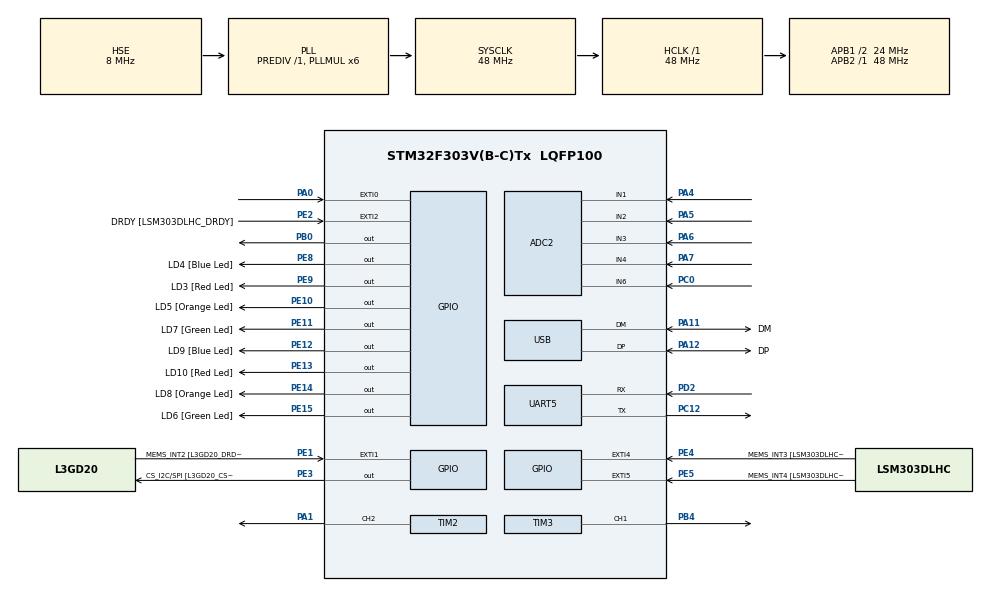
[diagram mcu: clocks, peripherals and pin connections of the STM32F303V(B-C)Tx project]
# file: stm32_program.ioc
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ADC2.AWD1HighThreshold=2000
ADC2.AWD1ITMode=ENABLE
ADC2.Channel-0\#ChannelRegularConversion=ADC_CHANNEL_1
ADC2.Channel-1\#ChannelRegularConversion=ADC_CHANNEL_2
ADC2.Channel-2\#ChannelRegularConversion=ADC_CHANNEL_3
ADC2.Channel-3\#ChannelRegularConversion=ADC_CHANNEL_4
ADC2.Channel-4\#ChannelRegularConversion=ADC_CHANNEL_6
ADC2.ContinuousConvMode=ENABLE
ADC2.DMAContinuousRequests=ENABLE
ADC2.EOCSelection=ADC_EOC_SEQ_CONV
ADC2.EnableAnalogWatchDog1=true
ADC2.NbrOfConversion=5
ADC2.NbrOfConversionFlag=1
ADC2.Offset-0\#ChannelRegularConversion=0
ADC2.Offset-1\#ChannelRegularConversion=0
ADC2.Offset-2\#ChannelRegularConversion=0
ADC2.Offset-3\#ChannelRegularConversion=0
ADC2.Offset-4\#ChannelRegularConversion=0
ADC2.OffsetNumber-0\#ChannelRegularConversion=ADC_OFFSET_NONE
ADC2.OffsetNumber-1\#ChannelRegularConversion=ADC_OFFSET_NONE
ADC2.OffsetNumber-2\#ChannelRegularConversion=ADC_OFFSET_NONE
ADC2.OffsetNumber-3\#ChannelRegularConversion=ADC_OFFSET_NONE
ADC2.OffsetNumber-4\#ChannelRegularConversion=ADC_OFFSET_NONE
ADC2.Rank-0\#ChannelRegularConversion=1
ADC2.Rank-1\#ChannelRegularConversion=2
ADC2.Rank-2\#ChannelRegularConversion=3
ADC2.Rank-3\#ChannelRegularConversion=4
ADC2.Rank-4\#ChannelRegularConversion=5
ADC2.SamplingTime-0\#ChannelRegularConversion=ADC_SAMPLETIME_61CYCLES_5
ADC2.SamplingTime-1\#ChannelRegularConversion=ADC_SAMPLETIME_61CYCLES_5
ADC2.SamplingTime-2\#ChannelRegularConversion=ADC_SAMPLETIME_61CYCLES_5
ADC2.SamplingTime-3\#ChannelRegularConversion=ADC_SAMPLETIME_61CYCLES_5
ADC2.SamplingTime-4\#ChannelRegularConversion=ADC_SAMPLETIME_61CYCLES_5
ADC2.WatchdogMode=ADC_ANALOGWATCHDOG_ALL_REG
Dma.ADC2.0.Direction=DMA_PERIPH_TO_MEMORY
Dma.ADC2.0.Instance=DMA2_Channel1
Dma.ADC2.0.MemDataAlignment=DMA_MDATAALIGN_HALFWORD
Dma.ADC2.0.MemInc=DMA_MINC_ENABLE
Dma.ADC2.0.Mode=DMA_CIRCULAR
Dma.ADC2.0.PeriphDataAlignment=DMA_PDATAALIGN_HALFWORD
Dma.ADC2.0.PeriphInc=DMA_PINC_DISABLE
Dma.ADC2.0.Priority=DMA_PRIORITY_LOW
Dma.Request0=ADC2
Mcu.Family=STM32F3
Mcu.Name=STM32F303V(B-C)Tx
Mcu.Package=LQFP100
NVIC.ADC1_2_IRQn=true\:0\:0\:false\:false\:true\:true\:true\:true
NVIC.DMA2_Channel1_IRQn=true\:0\:0\:false\:false\:true\:false\:true\:true
NVIC.EXTI0_IRQn=true\:0\:0\:false\:false\:true\:true\:true\:true
NVIC.PriorityGroup=NVIC_PRIORITYGROUP_0
NVIC.TIM4_IRQn=true\:0\:0\:false\:false\:true\:true\:true\:true
NVIC.TIM6_DAC_IRQn=true\:0\:0\:false\:false\:true\:true\:true\:true
NVIC.UART5_IRQn=true\:0\:0\:false\:false\:true\:true\:true\:true
PA0.Signal=GPXTI0
PA1.Signal=S_TIM2_CH2
PA11.GPIO_Label=DM
PA11.Mode=Device
PA11.Signal=USB_DM
PA12.GPIO_Label=DP
PA12.Mode=Device
PA12.Signal=USB_DP
PA13.GPIO_Label=SWDIO
PA13.Mode=Serial_Wire
PA13.Signal=SYS_JTMS-SWDIO
PA14.GPIO_Label=SWCLK
PA14.Mode=Serial_Wire
PA14.Signal=SYS_JTCK-SWCLK
PA4.Mode=IN1-Single-Ended
PA4.Signal=ADC2_IN1
PA5.Mode=IN2-Single-Ended
PA5.Signal=ADC2_IN2
PA6.Mode=IN3-Single-Ended
PA6.Signal=ADC2_IN3
PA7.Mode=IN4-Single-Ended
PA7.Signal=ADC2_IN4
PB0.Signal=GPIO_Output
PB3.GPIO_Label=SWO
PB3.Signal=SYS_JTDO-TRACESWO
PB4.Signal=S_TIM3_CH1
PC0.Signal=ADCx_IN6
PC12.Mode=Asynchronous
PC12.Signal=UART5_TX
PC14-OSC32_IN.GPIO_Label=OSC32_IN
PC14-OSC32_IN.Signal=RCC_OSC32_IN
PC15-OSC32_OUT.GPIO_Label=OSC32_OUT
PC15-OSC32_OUT.Signal=RCC_OSC32_OUT
PD2.Mode=Asynchronous
PD2.Signal=UART5_RX
PE1.GPIO_Label=MEMS_INT2 [L3GD20_DRDY/INT2]
PE1.GPIO_ModeDefaultEXTI=GPIO_MODE_EVT_RISING
PE1.Signal=GPXTI1
PE10.GPIO_Label=LD5 [Orange Led]
PE10.Signal=GPIO_Output
PE11.GPIO_Label=LD7 [Green Led]
PE11.Signal=GPIO_Output
PE12.GPIO_Label=LD9 [Blue Led]
PE12.Signal=GPIO_Output
PE13.GPIO_Label=LD10 [Red Led]
PE13.Signal=GPIO_Output
PE14.GPIO_Label=LD8 [Orange Led]
PE14.Signal=GPIO_Output
PE15.GPIO_Label=LD6 [Green Led]
PE15.Signal=GPIO_Output
PE2.GPIO_Label=DRDY [LSM303DLHC_DRDY]
PE2.GPIO_ModeDefaultEXTI=GPIO_MODE_EVT_RISING
PE2.Signal=GPXTI2
PE3.GPIO_Label=CS_I2C/SPI [L3GD20_CS_I2C/SPI]
PE3.Signal=GPIO_Output
PE4.GPIO_Label=MEMS_INT3 [LSM303DLHC_INT1]
PE4.GPIO_ModeDefaultEXTI=GPIO_MODE_EVT_RISING
PE4.Signal=GPXTI4
PE5.GPIO_Label=MEMS_INT4 [LSM303DLHC_INT2]
PE5.GPIO_ModeDefaultEXTI=GPIO_MODE_EVT_RISING
PE5.Signal=GPXTI5
PE8.GPIO_Label=LD4 [Blue Led]
PE8.Signal=GPIO_Output
PE9.GPIO_Label=LD3 [Red Led]
PE9.Signal=GPIO_Output
PF0-OSC_IN.GPIO_Label=OSC_IN
PF0-OSC_IN.Mode=HSE-External-Clock-Source
PF0-OSC_IN.Signal=RCC_OSC_IN
PF1-OSC_OUT.GPIO_Label=OSC_OUT
PF1-OSC_OUT.Signal=RCC_OSC_OUT
ProjectManager.HeapSize=0x200
ProjectManager.StackSize=0x400
ProjectManager.TargetToolchain=STM32CubeIDE
RCC.AHBFreq_Value=48000000
RCC.APB1CLKDivider=RCC_HCLK_DIV2
RCC.APB1Freq_Value=24000000
RCC.APB1TimFreq_Value=48000000
RCC.APB2Freq_Value=48000000
RCC.APB2TimFreq_Value=48000000
RCC.CortexFreq_Value=48000000
RCC.HCLKFreq_Value=48000000
RCC.HSE_VALUE=8000000
RCC.HSI_VALUE=8000000
RCC.LSE_VALUE=32768
RCC.PLLMUL=RCC_PLL_MUL6
RCC.PLLSourceVirtual=RCC_PLLSOURCE_HSE
RCC.SYSCLKFreq_VALUE=48000000
RCC.SYSCLKSourceVirtual=RCC_SYSCLKSOURCE_PLLCLK
RCC.USBFreq_Value=48000000
SH.ADCx_IN6.0=ADC2_IN6,IN6-Single-Ended
SH.S_TIM2_CH2.0=TIM2_CH2,PWM Generation2 CH2
SH.S_TIM3_CH1.0=TIM3_CH1,PWM Generation1 CH1
TIM2.AutoReloadPreload=TIM_AUTORELOAD_PRELOAD_ENABLE
TIM2.Channel-PWM\ Generation2\ CH2=TIM_CHANNEL_2
TIM2.Period=19999
TIM2.Prescaler=47
TIM2.Pulse-PWM\ Generation2\ CH2=1500
TIM3.AutoReloadPreload=TIM_AUTORELOAD_PRELOAD_ENABLE
TIM3.Channel-PWM\ Generation1\ CH1=TIM_CHANNEL_1
TIM3.Period=800
TIM3.Prescaler=47
TIM4.AutoReloadPreload=TIM_AUTORELOAD_PRELOAD_ENABLE
TIM4.Period=99
TIM4.Prescaler=4799
TIM6.AutoReloadPreload=TIM_AUTORELOAD_PRELOAD_DISABLE
TIM6.Prescaler=47999
VP_TIM2_VS_ClockSourceINT.Mode=Internal
VP_TIM3_VS_ClockSourceINT.Mode=Internal
VP_TIM4_VS_ClockSourceINT.Mode=Internal
VP_TIM6_VS_ClockSourceINT.Mode=Enable_Timer
board=STM32F3DISCOVERY

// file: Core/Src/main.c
/* USER CODE BEGIN Header */
/**
  ******************************************************************************
  * @file           : main.c
  * @brief          : Main program body
  ******************************************************************************
  * @attention
  *
  * Copyright (c) 2026 STMicroelectronics.
  * All rights reserved.
  *
  * This software is licensed under terms that can be found in the LICENSE file
  * in the root directory of this software component.
  * If no LICENSE file comes with this software, it is provided AS-IS.
  *
  ******************************************************************************
  */
/* USER CODE END Header */
#include "main.h"

/* USER CODE BEGIN Includes */
#include <string.h>
#include <stdio.h>
/* USER CODE END Includes */

/* USER CODE BEGIN PD */
#define SOGLIA_PERICOLO 1500
#define SOGLIA_FINE_INCENDIO 1000
#define TEMPO_DURATA_SPRUZZO 2000
/* USER CODE END PD */

ADC_HandleTypeDef hadc2;
DMA_HandleTypeDef hdma_adc2;

TIM_HandleTypeDef htim2;
TIM_HandleTypeDef htim3;
TIM_HandleTypeDef htim4;
TIM_HandleTypeDef htim6;

UART_HandleTypeDef huart5;

PCD_HandleTypeDef hpcd_USB_FS;

/* USER CODE BEGIN PV */
typedef enum {
    STATO_PATTUGLIAMENTO,
    STATO_ALLARME,
    STATO_PUNTAMENTO,
    STATO_EROGAZIONE
} SAFE_State;

volatile SAFE_State stato_attuale = STATO_PATTUGLIAMENTO;

const uint8_t angoli_sensori[5] = {30, 60, 90, 120, 150};
volatile uint16_t valori_sensori[5];
volatile uint8_t angolo_corrente = 90;
volatile uint8_t fase_erogazione = 0;

volatile uint8_t allarme_in_sospeso = 0;

/* USER CODE END PV */

void SystemClock_Config(void);
static void MX_GPIO_Init(void);
static void MX_DMA_Init(void);
static void MX_USB_PCD_Init(void);
static void MX_UART5_Init(void);
static void MX_TIM3_Init(void);
static void MX_TIM4_Init(void);
static void MX_ADC2_Init(void);
static void MX_TIM6_Init(void);
static void MX_TIM2_Init(void);
/* USER CODE BEGIN PFP */
uint32_t fase_puntamento_servomotore(void);
void variazione_tono_buzzer(void);
void invia_esp(char* tipo, char* messaggio);
/* USER CODE END PFP */

/* USER CODE BEGIN 0 */

void HAL_GPIO_EXTI_Callback(uint16_t GPIO_PIN) {
	if (GPIO_PIN == GPIO_PIN_0) {
		HAL_GPIO_TogglePin(GPIOB, GPIO_PIN_0);
	}
}

// ISR eseguita quando un sensore supera la soglia di fiamma

void HAL_ADC_LevelOutOfWindowCallback(ADC_HandleTypeDef* hadc)
{
    if (hadc->Instance == ADC2) {
        if (stato_attuale == STATO_PATTUGLIAMENTO) {
            // Spegne temporaneamente il watchdog e prenota l'esecuzione
            ADC2->CFGR &= ~ADC_CFGR_AWD1EN;
            allarme_in_sospeso = 1;
        }
    }
}

// ISR eseguita quando il DMA scansiona tutti e 5 i sensori

void HAL_ADC_ConvCpltCallback(ADC_HandleTypeDef* hadc)
{
    // Esegue il calcolo solo a vettore completo e allarme prenotato
    if (hadc->Instance == ADC2 && allarme_in_sospeso) {

        allarme_in_sospeso = 0;
        stato_attuale = STATO_ALLARME;
        invia_esp("STATO", "ALLARME");
        invia_esp("LOG", "Fiamma rilevata - avvio sequenza");

        HAL_TIM_Base_Start_IT(&htim4);
        HAL_TIM_PWM_Start(&htim3, TIM_CHANNEL_1);

        uint32_t tempo_volo_ms = fase_puntamento_servomotore();

        __HAL_TIM_SET_AUTORELOAD(&htim6, tempo_volo_ms - 1);
        __HAL_TIM_SET_COUNTER(&htim6, 0);
        fase_erogazione = 0;
        HAL_TIM_Base_Start_IT(&htim6);
    }
}

void HAL_TIM_PeriodElapsedCallback(TIM_HandleTypeDef *htim)
{
	// ISR per gestire la variazione di tonalità del buzzer
    if (htim->Instance == TIM4) {
    	variazione_tono_buzzer();
    }

    // ISR per gestire l'accensione della pompa quando il servomotore è in posizione
    if (htim->Instance == TIM6) {

		if (fase_erogazione == 0) {
			stato_attuale = STATO_EROGAZIONE;
			// CASO 1: Prima volta che rileva la fiamma
			invia_esp("STATO", "EROGAZIONE");
			invia_esp("LOG", "Pompa attivata");

			// Accende la pompa dell'acqua
			HAL_GPIO_WritePin(GPIOB, GPIO_PIN_0, GPIO_PIN_SET);

			// Riprogramma se stesso per effettuare 2 secondi (2000 ms) di spruzzo
			__HAL_TIM_SET_AUTORELOAD(&htim6, TEMPO_DURATA_SPRUZZO - 1);
			__HAL_TIM_SET_COUNTER(&htim6, 0);

			// passaggio al caso 2 al successivo scadere del timer
			fase_erogazione = 1;
		}
		else {
			// CASO 2: La pompa ha erogato per 2 secondi

			// Spegne la pompa istantaneamente
			HAL_GPIO_WritePin(GPIOB, GPIO_PIN_0, GPIO_PIN_RESET);

			// Verifica se sono ancora sensori che rilevano fuoco sopra la soglia
			uint8_t fuoco_presente = 0;
			for (int i = 0; i < 5; i++) {
				if (valori_sensori[i] > SOGLIA_FINE_INCENDIO) {
					fuoco_presente = 1;
					break;
				}
			}

			if (fuoco_presente) {

				invia_esp("LOG", "Fuoco ancora presente - ricalcolo mira");
				uint32_t tempo_volo_ms = fase_puntamento_servomotore();

				__HAL_TIM_SET_AUTORELOAD(&htim6, tempo_volo_ms - 1);
				__HAL_TIM_SET_COUNTER(&htim6, 0);
				fase_erogazione = 0;
			}
			else {
				// INCENDIO ESTINTO: Ripristina la torretta a riposo

				HAL_TIM_Base_Stop_IT(&htim6);             // Ferma lo schedulatore
				HAL_TIM_Base_Stop_IT(&htim4);             // Ferma il timer della sirena
				HAL_TIM_PWM_Stop(&htim3, TIM_CHANNEL_1);  // Spegni fisicamente la sirena

				// Riporta il servo dritto a 90 gradi (valore PWM 1500)
				__HAL_TIM_SET_COMPARE(&htim2, TIM_CHANNEL_2, 1500);
				angolo_corrente = 90;

				// Resetta le variabili di stato per il prossimo incendio
				stato_attuale = STATO_PATTUGLIAMENTO;
				invia_esp("STATO", "PATTUGLIAMENTO");
				invia_esp("LOG", "Incendio estinto - sistema ripristinato");
				fase_erogazione = 0;

				// Riabilita il Watchdog
				ADC2->CFGR |= ADC_CFGR_AWD1EN;
			}
		}
	}
}

void variazione_tono_buzzer(void)
{
	static uint16_t current_arr = 800;
	static int8_t direction = 1;

	current_arr += (direction * 20);

	if (current_arr >= 1600) {
		direction = -1;
	} else if (current_arr <= 800) {
		direction = 1;
	}

	__HAL_TIM_SET_AUTORELOAD(&htim3, current_arr);
	__HAL_TIM_SET_COMPARE(&htim3, TIM_CHANNEL_1, current_arr / 2);
}

uint32_t fase_puntamento_servomotore(void)
{
    stato_attuale = STATO_PUNTAMENTO;

    uint16_t max_val = 0;
    uint8_t max_idx = 0;

    // Ricerca del Picco
    for (int i = 0; i < 5; i++) {
        if (valori_sensori[i] > max_val) {
            max_val = valori_sensori[i];
            max_idx = i;
        }
    }

    uint32_t numeratore = 0;
    uint32_t denominatore = 0;

    // Calcolo Media Pesata Locale (per gestire più sorgenti)
//
//    numeratore += valori_sensori[max_idx] * angoli_sensori[max_idx];
//    denominatore += valori_sensori[max_idx];
//
//    // Aggiunge il vicino di sinistra e di destra (se esistono)
//    if (max_idx > 0) {
//        numeratore += valori_sensori[max_idx - 1] * angoli_sensori[max_idx - 1];
//        denominatore += valori_sensori[max_idx - 1];
//    }
//    if (max_idx < 4) {
//        numeratore += valori_sensori[max_idx + 1] * angoli_sensori[max_idx + 1];
//        denominatore += valori_sensori[max_idx + 1];
//    }

    // Calcolo Media Pesata Globale su tutti e 5 i sensori
	for (int i = 0; i < 5; i++) {
		numeratore += valori_sensori[i] * angoli_sensori[i];
		denominatore += valori_sensori[i];
	}

	// Sicurezza contro divisione per zero (improbabile con l'AWD attivo, ma necessaria)
	if (denominatore == 0) {
		return 90; // Torna al centro come posizione di riposo
	}

    // Calcolo finale dell'angolo
    uint8_t angolo_calcolato = numeratore / denominatore;
    char msg[64];
    snprintf(msg, sizeof(msg), "Puntamento a %d gradi", angolo_calcolato);
    invia_esp("STATO", "PUNTAMENTO");
    invia_esp("LOG", msg);

    // Calcolo del tempo necessario a ruotare il servomotore
	int16_t delta_gradi = (int16_t)angolo_calcolato - (int16_t)angolo_corrente;
	if (delta_gradi < 0) delta_gradi = -delta_gradi;
	uint32_t tempo_volo_ms = (delta_gradi * 2) + 30;

    // Attuazione del Servomotore
    uint32_t impulso_pwm = 500 + ((uint32_t)angolo_calcolato * 2000) / 180;
    __HAL_TIM_SET_COMPARE(&htim2, TIM_CHANNEL_2, impulso_pwm);

	// Aggiornamento angolo corrente
	angolo_corrente = angolo_calcolato;

    return tempo_volo_ms;

}

void invia_esp(char* tipo, char* messaggio)
{
    char buffer[128];
    snprintf(buffer, sizeof(buffer), "%s:%s\n", tipo, messaggio);
    HAL_UART_Transmit(&huart5, (uint8_t*)buffer, strlen(buffer), 100);
}

/* USER CODE END 0 */

int main(void)
{

  /* MCU Configuration--------------------------------------------------------*/

  /* Reset of all peripherals, Initializes the Flash interface and the Systick. */
  HAL_Init();

  /* Configure the system clock */
  SystemClock_Config();

  /* Initialize all configured peripherals */
  MX_GPIO_Init();
  MX_DMA_Init();
  MX_USB_PCD_Init();
  MX_UART5_Init();
  MX_TIM3_Init();
  MX_TIM4_Init();
  MX_ADC2_Init();
  MX_TIM6_Init();
  MX_TIM2_Init();
  /* USER CODE BEGIN 2 */
  HAL_TIM_PWM_Start(&htim2, TIM_CHANNEL_2);
  HAL_ADCEx_Calibration_Start(&hadc2, ADC_SINGLE_ENDED);
  HAL_ADC_Start_DMA(&hadc2, (uint32_t*)valori_sensori, 5);
  /* USER CODE END 2 */

  /* Infinite loop */
  while (1)
  {

  }
}

void SystemClock_Config(void)
{
  RCC_OscInitTypeDef RCC_OscInitStruct = {0};
  RCC_ClkInitTypeDef RCC_ClkInitStruct = {0};
  RCC_PeriphCLKInitTypeDef PeriphClkInit = {0};

  /** Initializes the RCC Oscillators according to the specified parameters
  * in the RCC_OscInitTypeDef structure.
  */
  RCC_OscInitStruct.OscillatorType = RCC_OSCILLATORTYPE_HSE;
  RCC_OscInitStruct.HSEState = RCC_HSE_BYPASS;
  RCC_OscInitStruct.HSEPredivValue = RCC_HSE_PREDIV_DIV1;
  RCC_OscInitStruct.HSIState = RCC_HSI_ON;
  RCC_OscInitStruct.PLL.PLLState = RCC_PLL_ON;
  RCC_OscInitStruct.PLL.PLLSource = RCC_PLLSOURCE_HSE;
  RCC_OscInitStruct.PLL.PLLMUL = RCC_PLL_MUL6;
  if (HAL_RCC_OscConfig(&RCC_OscInitStruct) != HAL_OK)
  {
    Error_Handler();
  }

  /** Initializes the CPU, AHB and APB buses clocks
  */
  RCC_ClkInitStruct.ClockType = RCC_CLOCKTYPE_HCLK|RCC_CLOCKTYPE_SYSCLK
                              |RCC_CLOCKTYPE_PCLK1|RCC_CLOCKTYPE_PCLK2;
  RCC_ClkInitStruct.SYSCLKSource = RCC_SYSCLKSOURCE_PLLCLK;
  RCC_ClkInitStruct.AHBCLKDivider = RCC_SYSCLK_DIV1;
  RCC_ClkInitStruct.APB1CLKDivider = RCC_HCLK_DIV2;
  RCC_ClkInitStruct.APB2CLKDivider = RCC_HCLK_DIV1;

  if (HAL_RCC_ClockConfig(&RCC_ClkInitStruct, FLASH_LATENCY_1) != HAL_OK)
  {
    Error_Handler();
  }
  PeriphClkInit.PeriphClockSelection = RCC_PERIPHCLK_USB|RCC_PERIPHCLK_UART5
                              |RCC_PERIPHCLK_ADC12;
  PeriphClkInit.Uart5ClockSelection = RCC_UART5CLKSOURCE_PCLK1;
  PeriphClkInit.Adc12ClockSelection = RCC_ADC12PLLCLK_DIV1;
  PeriphClkInit.USBClockSelection = RCC_USBCLKSOURCE_PLL;
  if (HAL_RCCEx_PeriphCLKConfig(&PeriphClkInit) != HAL_OK)
  {
    Error_Handler();
  }
}

static void MX_ADC2_Init(void)
{

  ADC_AnalogWDGConfTypeDef AnalogWDGConfig = {0};
  ADC_ChannelConfTypeDef sConfig = {0};

  /** Common config
  */
  hadc2.Instance = ADC2;
  hadc2.Init.ClockPrescaler = ADC_CLOCK_ASYNC_DIV1;
  hadc2.Init.Resolution = ADC_RESOLUTION_12B;
  hadc2.Init.ScanConvMode = ADC_SCAN_ENABLE;
  hadc2.Init.ContinuousConvMode = ENABLE;
  hadc2.Init.DiscontinuousConvMode = DISABLE;
  hadc2.Init.ExternalTrigConvEdge = ADC_EXTERNALTRIGCONVEDGE_NONE;
  hadc2.Init.ExternalTrigConv = ADC_SOFTWARE_START;
  hadc2.Init.DataAlign = ADC_DATAALIGN_RIGHT;
  hadc2.Init.NbrOfConversion = 5;
  hadc2.Init.DMAContinuousRequests = ENABLE;
  hadc2.Init.EOCSelection = ADC_EOC_SEQ_CONV;
  hadc2.Init.LowPowerAutoWait = DISABLE;
  hadc2.Init.Overrun = ADC_OVR_DATA_OVERWRITTEN;
  if (HAL_ADC_Init(&hadc2) != HAL_OK)
  {
    Error_Handler();
  }

  /** Configure Analog WatchDog 1
  */
  AnalogWDGConfig.WatchdogNumber = ADC_ANALOGWATCHDOG_1;
  AnalogWDGConfig.WatchdogMode = ADC_ANALOGWATCHDOG_ALL_REG;
  AnalogWDGConfig.HighThreshold = 2000;
  AnalogWDGConfig.LowThreshold = 0;
  AnalogWDGConfig.ITMode = ENABLE;
  if (HAL_ADC_AnalogWDGConfig(&hadc2, &AnalogWDGConfig) != HAL_OK)
  {
    Error_Handler();
  }

  /** Configure Regular Channel
  */
  sConfig.Channel = ADC_CHANNEL_1;
  sConfig.Rank = ADC_REGULAR_RANK_1;
  sConfig.SingleDiff = ADC_SINGLE_ENDED;
  sConfig.SamplingTime = ADC_SAMPLETIME_61CYCLES_5;
  sConfig.OffsetNumber = ADC_OFFSET_NONE;
  sConfig.Offset = 0;
  if (HAL_ADC_ConfigChannel(&hadc2, &sConfig) != HAL_OK)
  {
    Error_Handler();
  }

  /** Configure Regular Channel
  */
  sConfig.Channel = ADC_CHANNEL_2;
  sConfig.Rank = ADC_REGULAR_RANK_2;
  if (HAL_ADC_ConfigChannel(&hadc2, &sConfig) != HAL_OK)
  {
    Error_Handler();
  }

  /** Configure Regular Channel
  */
  sConfig.Channel = ADC_CHANNEL_3;
  sConfig.Rank = ADC_REGULAR_RANK_3;
  if (HAL_ADC_ConfigChannel(&hadc2, &sConfig) != HAL_OK)
  {
    Error_Handler();
  }

  /** Configure Regular Channel
  */
  sConfig.Channel = ADC_CHANNEL_4;
  sConfig.Rank = ADC_REGULAR_RANK_4;
  if (HAL_ADC_ConfigChannel(&hadc2, &sConfig) != HAL_OK)
  {
    Error_Handler();
  }

  /** Configure Regular Channel
  */
  sConfig.Channel = ADC_CHANNEL_6;
  sConfig.Rank = ADC_REGULAR_RANK_5;
  if (HAL_ADC_ConfigChannel(&hadc2, &sConfig) != HAL_OK)
  {
    Error_Handler();
  }

}

static void MX_TIM2_Init(void)
{

  TIM_ClockConfigTypeDef sClockSourceConfig = {0};
  TIM_MasterConfigTypeDef sMasterConfig = {0};
  TIM_OC_InitTypeDef sConfigOC = {0};

  htim2.Instance = TIM2;
  htim2.Init.Prescaler = 47;
  htim2.Init.CounterMode = TIM_COUNTERMODE_UP;
  htim2.Init.Period = 19999;
  htim2.Init.ClockDivision = TIM_CLOCKDIVISION_DIV1;
  htim2.Init.AutoReloadPreload = TIM_AUTORELOAD_PRELOAD_ENABLE;
  if (HAL_TIM_Base_Init(&htim2) != HAL_OK)
  {
    Error_Handler();
  }
  sClockSourceConfig.ClockSource = TIM_CLOCKSOURCE_INTERNAL;
  if (HAL_TIM_ConfigClockSource(&htim2, &sClockSourceConfig) != HAL_OK)
  {
    Error_Handler();
  }
  if (HAL_TIM_PWM_Init(&htim2) != HAL_OK)
  {
    Error_Handler();
  }
  sMasterConfig.MasterOutputTrigger = TIM_TRGO_RESET;
  sMasterConfig.MasterSlaveMode = TIM_MASTERSLAVEMODE_DISABLE;
  if (HAL_TIMEx_MasterConfigSynchronization(&htim2, &sMasterConfig) != HAL_OK)
  {
    Error_Handler();
  }
  sConfigOC.OCMode = TIM_OCMODE_PWM1;
  sConfigOC.Pulse = 1500;
  sConfigOC.OCPolarity = TIM_OCPOLARITY_HIGH;
  sConfigOC.OCFastMode = TIM_OCFAST_DISABLE;
  if (HAL_TIM_PWM_ConfigChannel(&htim2, &sConfigOC, TIM_CHANNEL_2) != HAL_OK)
  {
    Error_Handler();
  }
  HAL_TIM_MspPostInit(&htim2);

}

static void MX_TIM3_Init(void)
{

  TIM_ClockConfigTypeDef sClockSourceConfig = {0};
  TIM_MasterConfigTypeDef sMasterConfig = {0};
  TIM_OC_InitTypeDef sConfigOC = {0};

  htim3.Instance = TIM3;
  htim3.Init.Prescaler = 47;
  htim3.Init.CounterMode = TIM_COUNTERMODE_UP;
  htim3.Init.Period = 800;
  htim3.Init.ClockDivision = TIM_CLOCKDIVISION_DIV1;
  htim3.Init.AutoReloadPreload = TIM_AUTORELOAD_PRELOAD_ENABLE;
  if (HAL_TIM_Base_Init(&htim3) != HAL_OK)
  {
    Error_Handler();
  }
  sClockSourceConfig.ClockSource = TIM_CLOCKSOURCE_INTERNAL;
  if (HAL_TIM_ConfigClockSource(&htim3, &sClockSourceConfig) != HAL_OK)
  {
    Error_Handler();
  }
  if (HAL_TIM_PWM_Init(&htim3) != HAL_OK)
  {
    Error_Handler();
  }
  sMasterConfig.MasterOutputTrigger = TIM_TRGO_RESET;
  sMasterConfig.MasterSlaveMode = TIM_MASTERSLAVEMODE_DISABLE;
  if (HAL_TIMEx_MasterConfigSynchronization(&htim3, &sMasterConfig) != HAL_OK)
  {
    Error_Handler();
  }
  sConfigOC.OCMode = TIM_OCMODE_PWM1;
  sConfigOC.Pulse = 0;
  sConfigOC.OCPolarity = TIM_OCPOLARITY_HIGH;
  sConfigOC.OCFastMode = TIM_OCFAST_DISABLE;
  if (HAL_TIM_PWM_ConfigChannel(&htim3, &sConfigOC, TIM_CHANNEL_1) != HAL_OK)
  {
    Error_Handler();
  }
  HAL_TIM_MspPostInit(&htim3);

}

static void MX_TIM4_Init(void)
{

  TIM_ClockConfigTypeDef sClockSourceConfig = {0};
  TIM_MasterConfigTypeDef sMasterConfig = {0};

  htim4.Instance = TIM4;
  htim4.Init.Prescaler = 4799;
  htim4.Init.CounterMode = TIM_COUNTERMODE_UP;
  htim4.Init.Period = 99;
  htim4.Init.ClockDivision = TIM_CLOCKDIVISION_DIV1;
  htim4.Init.AutoReloadPreload = TIM_AUTORELOAD_PRELOAD_ENABLE;
  if (HAL_TIM_Base_Init(&htim4) != HAL_OK)
  {
    Error_Handler();
  }
  sClockSourceConfig.ClockSource = TIM_CLOCKSOURCE_INTERNAL;
  if (HAL_TIM_ConfigClockSource(&htim4, &sClockSourceConfig) != HAL_OK)
  {
    Error_Handler();
  }
  sMasterConfig.MasterOutputTrigger = TIM_TRGO_RESET;
  sMasterConfig.MasterSlaveMode = TIM_MASTERSLAVEMODE_DISABLE;
  if (HAL_TIMEx_MasterConfigSynchronization(&htim4, &sMasterConfig) != HAL_OK)
  {
    Error_Handler();
  }

}

static void MX_TIM6_Init(void)
{

  TIM_MasterConfigTypeDef sMasterConfig = {0};

  htim6.Instance = TIM6;
  htim6.Init.Prescaler = 47999;
  htim6.Init.CounterMode = TIM_COUNTERMODE_UP;
  htim6.Init.Period = 65535;
  htim6.Init.AutoReloadPreload = TIM_AUTORELOAD_PRELOAD_DISABLE;
  if (HAL_TIM_Base_Init(&htim6) != HAL_OK)
  {
    Error_Handler();
  }
  sMasterConfig.MasterOutputTrigger = TIM_TRGO_RESET;
  sMasterConfig.MasterSlaveMode = TIM_MASTERSLAVEMODE_DISABLE;
  if (HAL_TIMEx_MasterConfigSynchronization(&htim6, &sMasterConfig) != HAL_OK)
  {
    Error_Handler();
  }

}

static void MX_UART5_Init(void)
{

  huart5.Instance = UART5;
  huart5.Init.BaudRate = 115200;
  huart5.Init.WordLength = UART_WORDLENGTH_8B;
  huart5.Init.StopBits = UART_STOPBITS_1;
  huart5.Init.Parity = UART_PARITY_NONE;
  huart5.Init.Mode = UART_MODE_TX_RX;
  huart5.Init.HwFlowCtl = UART_HWCONTROL_NONE;
  huart5.Init.OverSampling = UART_OVERSAMPLING_16;
  huart5.Init.OneBitSampling = UART_ONE_BIT_SAMPLE_DISABLE;
  huart5.AdvancedInit.AdvFeatureInit = UART_ADVFEATURE_NO_INIT;
  if (HAL_UART_Init(&huart5) != HAL_OK)
  {
    Error_Handler();
  }

}

static void MX_USB_PCD_Init(void)
{

  hpcd_USB_FS.Instance = USB;
  hpcd_USB_FS.Init.dev_endpoints = 8;
  hpcd_USB_FS.Init.speed = PCD_SPEED_FULL;
  hpcd_USB_FS.Init.phy_itface = PCD_PHY_EMBEDDED;
  hpcd_USB_FS.Init.low_power_enable = DISABLE;
  hpcd_USB_FS.Init.battery_charging_enable = DISABLE;
  if (HAL_PCD_Init(&hpcd_USB_FS) != HAL_OK)
  {
    Error_Handler();
  }

}

static void MX_DMA_Init(void)
{

  /* DMA controller clock enable */
  __HAL_RCC_DMA2_CLK_ENABLE();

  /* DMA interrupt init */
  /* DMA2_Channel1_IRQn interrupt configuration */
  HAL_NVIC_SetPriority(DMA2_Channel1_IRQn, 0, 0);
  HAL_NVIC_EnableIRQ(DMA2_Channel1_IRQn);

}

static void MX_GPIO_Init(void)
{
  GPIO_InitTypeDef GPIO_InitStruct = {0};

  /* GPIO Ports Clock Enable */
  __HAL_RCC_GPIOE_CLK_ENABLE();
  __HAL_RCC_GPIOC_CLK_ENABLE();
  __HAL_RCC_GPIOF_CLK_ENABLE();
  __HAL_RCC_GPIOA_CLK_ENABLE();
  __HAL_RCC_GPIOB_CLK_ENABLE();
  __HAL_RCC_GPIOD_CLK_ENABLE();

  /*Configure GPIO pin Output Level */
  HAL_GPIO_WritePin(GPIOE, CS_I2C_SPI_Pin|LD4_Pin|LD3_Pin|LD5_Pin
                          |LD7_Pin|LD9_Pin|LD10_Pin|LD8_Pin
                          |LD6_Pin, GPIO_PIN_RESET);

  /*Configure GPIO pin Output Level */
  HAL_GPIO_WritePin(GPIOB, GPIO_PIN_0, GPIO_PIN_RESET);

  /*Configure GPIO pins : DRDY_Pin MEMS_INT3_Pin MEMS_INT4_Pin MEMS_INT2_Pin */
  GPIO_InitStruct.Pin = DRDY_Pin|MEMS_INT3_Pin|MEMS_INT4_Pin|MEMS_INT2_Pin;
  GPIO_InitStruct.Mode = GPIO_MODE_EVT_RISING;
  GPIO_InitStruct.Pull = GPIO_NOPULL;
  HAL_GPIO_Init(GPIOE, &GPIO_InitStruct);

  /*Configure GPIO pins : CS_I2C_SPI_Pin LD4_Pin LD3_Pin LD5_Pin
                           LD7_Pin LD9_Pin LD10_Pin LD8_Pin
                           LD6_Pin */
  GPIO_InitStruct.Pin = CS_I2C_SPI_Pin|LD4_Pin|LD3_Pin|LD5_Pin
                          |LD7_Pin|LD9_Pin|LD10_Pin|LD8_Pin
                          |LD6_Pin;
  GPIO_InitStruct.Mode = GPIO_MODE_OUTPUT_PP;
  GPIO_InitStruct.Pull = GPIO_NOPULL;
  GPIO_InitStruct.Speed = GPIO_SPEED_FREQ_LOW;
  HAL_GPIO_Init(GPIOE, &GPIO_InitStruct);

  /*Configure GPIO pin : PA0 */
  GPIO_InitStruct.Pin = GPIO_PIN_0;
  GPIO_InitStruct.Mode = GPIO_MODE_IT_RISING;
  GPIO_InitStruct.Pull = GPIO_NOPULL;
  HAL_GPIO_Init(GPIOA, &GPIO_InitStruct);

  /*Configure GPIO pin : PB0 */
  GPIO_InitStruct.Pin = GPIO_PIN_0;
  GPIO_InitStruct.Mode = GPIO_MODE_OUTPUT_PP;
  GPIO_InitStruct.Pull = GPIO_NOPULL;
  GPIO_InitStruct.Speed = GPIO_SPEED_FREQ_LOW;
  HAL_GPIO_Init(GPIOB, &GPIO_InitStruct);

  /* EXTI interrupt init*/
  HAL_NVIC_SetPriority(EXTI0_IRQn, 0, 0);
  HAL_NVIC_EnableIRQ(EXTI0_IRQn);

}

void Error_Handler(void)
{
  __disable_irq();
  while (1)
  {
  }
}
